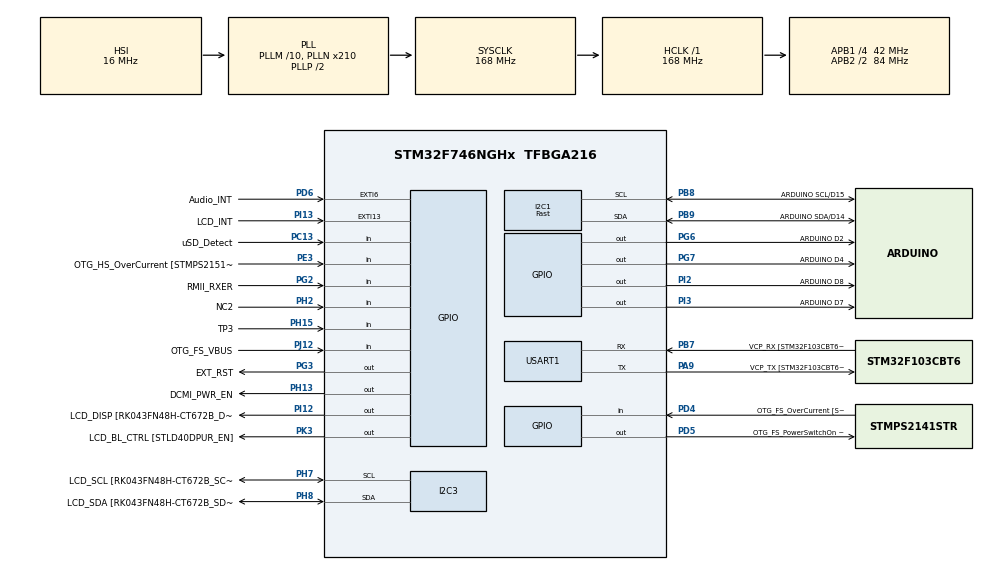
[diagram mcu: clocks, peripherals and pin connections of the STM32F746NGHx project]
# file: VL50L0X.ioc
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Dma.Request0=TIM6_UP
Dma.TIM6_UP.0.Direction=DMA_PERIPH_TO_MEMORY
Dma.TIM6_UP.0.FIFOMode=DMA_FIFOMODE_DISABLE
Dma.TIM6_UP.0.Instance=DMA1_Stream1
Dma.TIM6_UP.0.MemDataAlignment=DMA_MDATAALIGN_HALFWORD
Dma.TIM6_UP.0.MemInc=DMA_MINC_ENABLE
Dma.TIM6_UP.0.Mode=DMA_NORMAL
Dma.TIM6_UP.0.PeriphDataAlignment=DMA_PDATAALIGN_HALFWORD
Dma.TIM6_UP.0.PeriphInc=DMA_PINC_DISABLE
Dma.TIM6_UP.0.Priority=DMA_PRIORITY_LOW
I2C1.I2C_Speed_Mode=I2C_Fast
I2C1.Timing=0x0040154A
I2C3.Timing=0x00A0A3F7
Mcu.Family=STM32F7
Mcu.Name=STM32F746NGHx
Mcu.Package=TFBGA216
NVIC.DMA1_Stream1_IRQn=true\:0\:0\:false\:false\:true\:false\:true\:true
NVIC.PriorityGroup=NVIC_PRIORITYGROUP_4
NVIC.TIM6_DAC_IRQn=true\:0\:0\:false\:false\:true\:true\:true\:true
PA0/WKUP.GPIO_Label=ARDUINO A0
PA0/WKUP.GPIO_Mode=GPIO_MODE_ANALOG
PA0/WKUP.GPIO_PuPd=GPIO_NOPULL
PA0/WKUP.Signal=ADCx_IN0
PA1.GPIO_Label=RMII_REF_CLK [LAN8742A-CZ-TR_REFCLK0]
PA1.Signal=ETH_REF_CLK
PA10.GPIO_Label=OTG_FS_ID
PA10.Signal=USB_OTG_FS_ID
PA11.GPIO_Label=OTG_FS_N
PA11.Signal=USB_OTG_FS_DM
PA12.GPIO_Label=OTG_FS_P
PA12.Signal=USB_OTG_FS_DP
PA13.GPIO_Label=SWDIO
PA13.Mode=Serial_Wire
PA13.Signal=SYS_JTMS-SWDIO
PA14.GPIO_Label=SWCLK
PA14.Mode=Serial_Wire
PA14.Signal=SYS_JTCK-SWCLK
PA15.GPIO_Label=ARDUINO PWM/D9
PA15.GPIO_ModeDefaultPP=GPIO_MODE_AF_PP
PA15.GPIO_PuPd=GPIO_NOPULL
PA15.GPIO_Speed=GPIO_SPEED_FREQ_LOW
PA15.Signal=S_TIM2_CH1_ETR
PA2.GPIO_Label=RMII_MDIO [LAN8742A-CZ-TR_MDIO]
PA2.Signal=ETH_MDIO
PA3.GPIO_Label=ULPI_D0 [USB3320C-EZK_D0]
PA3.Signal=USB_OTG_HS_ULPI_D0
PA4.GPIO_Label=DCMI_HSYNC
PA4.Signal=DCMI_HSYNC
PA5.GPIO_Label=ULPI_CLK [USB3320C-EZK_CLKOUT]
PA5.Signal=USB_OTG_HS_ULPI_CK
PA6.Signal=DCMI_PIXCLK
PA7.GPIO_Label=RMII_CRS_DV [LAN8742A-CZ-TR_CRS_DV]
PA7.Signal=ETH_CRS_DV
PA8.GPIO_Label=ARDUINO PWM/D10
PA8.GPIO_ModeDefaultPP=GPIO_MODE_AF_PP
PA8.GPIO_PuPd=GPIO_NOPULL
PA8.GPIO_Speed=GPIO_SPEED_FREQ_LOW
PA8.Signal=S_TIM1_CH1
PA9.GPIO_Label=VCP_TX [STM32F103CBT6_PA3]
PA9.GPIO_Mode=GPIO_MODE_AF_PP
PA9.GPIO_PuPd=GPIO_NOPULL
PA9.GPIO_Speed=GPIO_SPEED_FREQ_LOW
PA9.Mode=Asynchronous
PA9.Signal=USART1_TX
PB0.GPIO_Label=ULPI_D1 [USB3320C-EZK_D1]
PB0.Signal=USB_OTG_HS_ULPI_D1
PB1.GPIO_Label=ULPI_D2 [USB3320C-EZK_D2]
PB1.Signal=USB_OTG_HS_ULPI_D2
PB10.GPIO_Label=ULPI_D3 [USB3320C-EZK_D3]
PB10.Signal=USB_OTG_HS_ULPI_D3
PB11.GPIO_Label=ULPI_D4 [USB3320C-EZK_D4]
PB11.Signal=USB_OTG_HS_ULPI_D4
PB12.GPIO_Label=ULPI_D5 [USB3320C-EZK_D5]
PB12.Signal=USB_OTG_HS_ULPI_D5
PB13.GPIO_Label=ULPI_D6 [USB3320C-EZK_D6]
PB13.Signal=USB_OTG_HS_ULPI_D6
PB14.GPIO_Label=ARDUINO MISO/D12
PB14.GPIO_Mode=GPIO_MODE_AF_PP
PB14.GPIO_PuPd=GPIO_NOPULL
PB14.GPIO_Speed=GPIO_SPEED_FREQ_LOW
PB14.Signal=SPI2_MISO
PB15.GPIO_Label=ARDUINO MOSI/PWM/D11
PB15.GPIO_Mode=GPIO_MODE_AF_PP
PB15.GPIO_PuPd=GPIO_NOPULL
PB15.GPIO_Speed=GPIO_SPEED_FREQ_LOW
PB15.Signal=SPI2_MOSI
PB2.Signal=QUADSPI_CLK
PB3.GPIO_Label=SWO
PB3.Signal=SYS_JTDO-SWO
PB4.GPIO_Label=ARDUINO PWM/D3
PB4.GPIO_ModeDefaultPP=GPIO_MODE_AF_PP
PB4.GPIO_PuPd=GPIO_NOPULL
PB4.GPIO_Speed=GPIO_SPEED_FREQ_LOW
PB4.Signal=S_TIM3_CH1
PB5.GPIO_Label=ULPI_D7 [USB3320C-EZK_D7]
PB5.Signal=USB_OTG_HS_ULPI_D7
PB6.GPIO_Label=QSPI_NCS [N25Q128A13EF840E_S]
PB6.Signal=QUADSPI_BK1_NCS
PB7.GPIO_Label=VCP_RX [STM32F103CBT6_PA2]
PB7.GPIO_Mode=GPIO_MODE_AF_PP
PB7.GPIO_PuPd=GPIO_NOPULL
PB7.GPIO_Speed=GPIO_SPEED_FREQ_LOW
PB7.Mode=Asynchronous
PB7.Signal=USART1_RX
PB8.GPIO_Label=ARDUINO SCL/D15
PB8.GPIO_Mode=GPIO_MODE_AF_OD
PB8.GPIO_PuPd=GPIO_NOPULL
PB8.GPIO_Speed=GPIO_SPEED_FREQ_LOW
PB8.Mode=I2C
PB8.Signal=I2C1_SCL
PB9.GPIO_Label=ARDUINO SDA/D14
PB9.GPIO_Mode=GPIO_MODE_AF_OD
PB9.GPIO_PuPd=GPIO_NOPULL
PB9.GPIO_Speed=GPIO_SPEED_FREQ_LOW
PB9.Mode=I2C
PB9.Signal=I2C1_SDA
PC0.GPIO_Label=ULPI_STP [USB3320C-EZK_STP]
PC0.Signal=USB_OTG_HS_ULPI_STP
PC1.GPIO_Label=RMII_MDC [LAN8742A-CZ-TR_MDC]
PC1.Signal=ETH_MDC
PC10.GPIO_Label=SDMMC_D2
PC10.Signal=SDMMC1_D2
PC11.GPIO_Label=SDMMC_D3
PC11.Signal=SDMMC1_D3
PC12.GPIO_Label=SDMMC_CK
PC12.Signal=SDMMC1_CK
PC13.GPIO_Label=uSD_Detect
PC13.Signal=GPIO_Input
PC14/OSC32_IN.GPIO_Label=RCC_OSC32_IN
PC14/OSC32_IN.Signal=RCC_OSC32_IN
PC15/OSC32_OUT.GPIO_Label=RCC_OSC32_OUT
PC15/OSC32_OUT.Signal=RCC_OSC32_OUT
PC2.GPIO_Label=ULPI_DIR [USB3320C-EZK_DIR]
PC2.Signal=USB_OTG_HS_ULPI_DIR
PC3.GPIO_Label=FMC_SDCKE0 [MT48LC4M32B2B5-6A_CKE]
PC3.Signal=FMC_SDCKE0
PC4.GPIO_Label=RMII_RXD0 [LAN8742A-CZ-TR_RXD0]
PC4.Signal=ETH_RXD0
PC5.GPIO_Label=RMII_RXD1 [LAN8742A-CZ-TR_RXD1]
PC5.Signal=ETH_RXD1
PC6.GPIO_Label=ARDUINO TX/D1
PC6.Signal=USART6_TX
PC7.GPIO_Label=ARDUINO RX/D0
PC7.Signal=USART6_RX
PC8.Signal=SDMMC1_D0
PC9.Signal=SDMMC1_D1
PD0.GPIO_Label=FMC_D2 [MT48LC4M32B2B5-6A_DQ2]
PD0.Signal=FMC_D2_DA2
PD1.GPIO_Label=FMC_D3 [MT48LC4M32B2B5-6A_DQ3]
PD1.Signal=FMC_D3_DA3
PD10.GPIO_Label=FMC_D15 [MT48LC4M32B2B5-6A_DQ15]
PD10.Signal=FMC_D15_DA15
PD11.GPIO_Label=QSPI_D0 [N25Q128A13EF840E_DQ0]
PD11.Signal=QUADSPI_BK1_IO0
PD12.GPIO_Label=QSPI_D1 [N25Q128A13EF840E_DQ1]
PD12.Signal=QUADSPI_BK1_IO1
PD13.GPIO_Label=QSPI_D3 [N25Q128A13EF840E_DQ3]
PD13.Signal=QUADSPI_BK1_IO3
PD14.GPIO_Label=FMC_D0 [MT48LC4M32B2B5-6A_DQ0]
PD14.Signal=FMC_D0_DA0
PD15.GPIO_Label=FMC_D1 [MT48LC4M32B2B5-6A_DQ1]
PD15.Signal=FMC_D1_DA1
PD2.GPIO_Label=SDMMC_D0
PD2.Signal=SDMMC1_CMD
PD3.GPIO_Label=DCMI_D5
PD3.Signal=DCMI_D5
PD4.GPIO_Label=OTG_FS_OverCurrent [STMPS2141STR_Fault]
PD4.Signal=GPIO_Input
PD5.GPIO_Label=OTG_FS_PowerSwitchOn [STMPS2141STR_EN]
PD5.PinState=GPIO_PIN_SET
PD5.Signal=GPIO_Output
PD6.GPIO_Label=Audio_INT
PD6.GPIO_ModeDefaultEXTI=GPIO_MODE_EVT_RISING
PD6.Signal=GPXTI6
PD7.GPIO_Label=SPDIF_RX0 [74LVC1G04SE_4]
PD7.Signal=SPDIFRX_IN0
PD8.GPIO_Label=FMC_D13 [MT48LC4M32B2B5-6A_DQ13]
PD8.Signal=FMC_D13_DA13
PD9.GPIO_Label=FMC_D14 [MT48LC4M32B2B5-6A_DQ14]
PD9.Signal=FMC_D14_DA14
PE0.GPIO_Label=FMC_NBL0 [MT48LC4M32B2B5-6A_DQM0]
PE0.Signal=FMC_NBL0
PE1.GPIO_Label=FMC_NBL1 [MT48LC4M32B2B5-6A_DQM1]
PE1.Signal=FMC_NBL1
PE10.GPIO_Label=FMC_D7 [MT48LC4M32B2B5-6A_DQ7]
PE10.Signal=FMC_D7_DA7
PE11.GPIO_Label=FMC_D8 [MT48LC4M32B2B5-6A_DQ8]
PE11.Signal=FMC_D8_DA8
PE12.GPIO_Label=FMC_D9 [MT48LC4M32B2B5-6A_DQ9]
PE12.Signal=FMC_D9_DA9
PE13.GPIO_Label=FMC_D10 [MT48LC4M32B2B5-6A_DQ10]
PE13.Signal=FMC_D10_DA10
PE14.GPIO_Label=FMC_D11 [MT48LC4M32B2B5-6A_DQ11]
PE14.Signal=FMC_D11_DA11
PE15.GPIO_Label=FMC_D12 [MT48LC4M32B2B5-6A_DQ12]
PE15.Signal=FMC_D12_DA12
PE2.GPIO_Label=QSPI_D2 [N25Q128A13EF840E_DQ2]
PE2.Signal=QUADSPI_BK1_IO2
PE3.GPIO_Label=OTG_HS_OverCurrent [STMPS2151STR_FAULT]
PE3.Signal=GPIO_Input
PE4.GPIO_Label=LCD_B0 [RK043FN48H-CT672B_B0]
PE4.Signal=LTDC_B0
PE5.GPIO_Label=DCMI_D6
PE5.Signal=DCMI_D6
PE6.GPIO_Label=DCMI_D7
PE6.Signal=DCMI_D7
PE7.GPIO_Label=FMC_D4 [MT48LC4M32B2B5-6A_DQ4]
PE7.Signal=FMC_D4_DA4
PE8.GPIO_Label=FMC_D5 [MT48LC4M32B2B5-6A_DQ5]
PE8.Signal=FMC_D5_DA5
PE9.GPIO_Label=FMC_D6 [MT48LC4M32B2B5-6A_DQ6]
PE9.Signal=FMC_D6_DA6
PF0.GPIO_Label=FMC_A0 [MT48LC4M32B2B5-6A_A0]
PF0.Signal=FMC_A0
PF1.GPIO_Label=FMC_A1 [MT48LC4M32B2B5-6A_A1]
PF1.Signal=FMC_A1
PF10.GPIO_Label=ARDUINO A1
PF10.GPIO_Mode=GPIO_MODE_ANALOG
PF10.GPIO_PuPd=GPIO_NOPULL
PF10.Signal=ADC3_IN8
PF11.GPIO_Label=FMC_SDNRAS [MT48LC4M32B2B5-6A_RAS]
PF11.Signal=FMC_SDNRAS
PF12.GPIO_Label=FMC_A6 [MT48LC4M32B2B5-6A_A6]
PF12.Signal=FMC_A6
PF13.GPIO_Label=FMC_A7 [MT48LC4M32B2B5-6A_A7]
PF13.Signal=FMC_A7
PF14.GPIO_Label=FMC_A8 [MT48LC4M32B2B5-6A_A8]
PF14.Signal=FMC_A8
PF15.GPIO_Label=FMC_A9 [MT48LC4M32B2B5-6A_A9]
PF15.Signal=FMC_A9
PF2.GPIO_Label=FMC_A2 [MT48LC4M32B2B5-6A_A2]
PF2.Signal=FMC_A2
PF3.GPIO_Label=FMC_A3 [MT48LC4M32B2B5-6A_A3]
PF3.Signal=FMC_A3
PF4.GPIO_Label=FMC_A4 [MT48LC4M32B2B5-6A_A4]
PF4.Signal=FMC_A4
PF5.GPIO_Label=FMC_A5 [MT48LC4M32B2B5-6A_A5]
PF5.Signal=FMC_A5
PF6.GPIO_Label=ARDUINO A5
PF6.GPIO_Mode=GPIO_MODE_ANALOG
PF6.GPIO_PuPd=GPIO_NOPULL
PF6.Signal=ADC3_IN4
PF7.GPIO_Label=ARDUINO A4
PF7.GPIO_Mode=GPIO_MODE_ANALOG
PF7.GPIO_PuPd=GPIO_NOPULL
PF7.Signal=ADC3_IN5
PF8.GPIO_Label=ARDUINO A3
PF8.GPIO_Mode=GPIO_MODE_ANALOG
PF8.GPIO_PuPd=GPIO_NOPULL
PF8.Signal=ADC3_IN6
PF9.GPIO_Label=ARDUINO A2
PF9.GPIO_Mode=GPIO_MODE_ANALOG
PF9.GPIO_PuPd=GPIO_NOPULL
PF9.Signal=ADC3_IN7
PG0.GPIO_Label=FMC_A10 [MT48LC4M32B2B5-6A_A10]
PG0.Signal=FMC_A10
PG1.GPIO_Label=FMC_A11 [MT48LC4M32B2B5-6A_A11]
PG1.Signal=FMC_A11
PG10.GPIO_Label=SAI2_SDB [WM8994ECS/R_ADCDAT1]
PG10.Signal=SAI2_SD_B
PG11.GPIO_Label=RMII_TX_EN [LAN8742A-CZ-TR_TXEN]
PG11.Signal=ETH_TX_EN
PG12.GPIO_Label=LCD_B4 [RK043FN48H-CT672B_B4]
PG12.Signal=LTDC_B4
PG13.GPIO_Label=RMII_TXD0 [LAN8742A-CZ-TR_TXD0]
PG13.Signal=ETH_TXD0
PG14.GPIO_Label=RMII_TXD1 [LAN8742A-CZ-TR_TXD1]
PG14.Signal=ETH_TXD1
PG15.GPIO_Label=FMC_SDNCAS [MT48LC4M32B2B5-6A_CAS]
PG15.Signal=FMC_SDNCAS
PG2.GPIO_Label=RMII_RXER
PG2.Signal=GPIO_Input
PG3.GPIO_Label=EXT_RST
PG3.Signal=GPIO_Output
PG4.GPIO_Label=FMC_BA0 [MT48LC4M32B2B5-6A_BA0]
PG4.Signal=FMC_A14_BA0
PG5.GPIO_Label=FMC_BA1 [MT48LC4M32B2B5-6A_BA1]
PG5.Signal=FMC_A15_BA1
PG6.GPIO_Label=ARDUINO D2
PG6.Signal=GPIO_Output
PG7.GPIO_Label=ARDUINO D4
PG7.Signal=GPIO_Output
PG8.GPIO_Label=FMC_SDCLK [MT48LC4M32B2B5-6A_CLK]
PG8.Signal=FMC_SDCLK
PG9.GPIO_Label=DCMI_VSYNC
PG9.Signal=DCMI_VSYNC
PH0/OSC_IN.GPIO_Label=OSC_25M [NZ2520SB-25.00M_OUT]
PH0/OSC_IN.Mode=HSE-External-Oscillator
PH0/OSC_IN.Signal=RCC_OSC_IN
PH1/OSC_OUT.Mode=HSE-External-Oscillator
PH1/OSC_OUT.Signal=RCC_OSC_OUT
PH10.GPIO_Label=DCMI_D1
PH10.Signal=DCMI_D1
PH11.GPIO_Label=DCMI_D2
PH11.Signal=DCMI_D2
PH12.GPIO_Label=DCMI_D3
PH12.Signal=DCMI_D3
PH13.GPIO_Label=DCMI_PWR_EN
PH13.Signal=GPIO_Output
PH14.GPIO_Label=DCMI_D4
PH14.Signal=DCMI_D4
PH15.GPIO_Label=TP3
PH15.Signal=GPIO_Input
PH2.GPIO_Label=NC2
PH2.Signal=GPIO_Input
PH3.GPIO_Label=FMC_SDNE0 [MT48LC4M32B2B5-6A_CS]
PH3.Signal=FMC_SDNE0
PH4.GPIO_Label=ULPI_NXT [USB3320C-EZK_NXT]
PH4.Signal=USB_OTG_HS_ULPI_NXT
PH5.GPIO_Label=FMC_SDNME [MT48LC4M32B2B5-6A_WE]
PH5.Signal=FMC_SDNWE
PH6.GPIO_Label=ARDUINO PWM/D6
PH6.Signal=S_TIM12_CH1
PH7.GPIO_Label=LCD_SCL [RK043FN48H-CT672B_SCL]
PH7.Mode=I2C
PH7.Signal=I2C3_SCL
PH8.GPIO_Label=LCD_SDA [RK043FN48H-CT672B_SDA]
PH8.Mode=I2C
PH8.Signal=I2C3_SDA
PH9.GPIO_Label=DCMI_D0
PH9.Signal=DCMI_D0
PI0.GPIO_Label=ARDUINO PWM/CS/D5
PI0.GPIO_ModeDefaultPP=GPIO_MODE_AF_PP
PI0.GPIO_PuPd=GPIO_NOPULL
PI0.GPIO_Speed=GPIO_SPEED_FREQ_LOW
PI0.Signal=S_TIM5_CH4
PI1.GPIO_Label=ARDUINO SCK/D13
PI1.GPIO_Mode=GPIO_MODE_AF_PP
PI1.GPIO_PuPd=GPIO_NOPULL
PI1.GPIO_Speed=GPIO_SPEED_FREQ_LOW
PI1.Signal=SPI2_SCK
PI10.GPIO_Label=LCD_HSYNC [RK043FN48H-CT672B_HSYNC]
PI10.Signal=LTDC_HSYNC
PI12.GPIO_Label=LCD_DISP [RK043FN48H-CT672B_DISP] 
PI12.Signal=GPIO_Output
PI13.GPIO_Label=LCD_INT
PI13.GPIO_ModeDefaultEXTI=GPIO_MODE_EVT_RISING
PI13.Signal=GPXTI13
PI14.GPIO_Label=LCD_CLK [RK043FN48H-CT672B_CLK]
PI14.Signal=LTDC_CLK
PI15.GPIO_Label=LCD_R0 [RK043FN48H-CT672B_R0]
PI15.Signal=LTDC_R0
PI2.GPIO_Label=ARDUINO D8
PI2.Signal=GPIO_Output
PI3.GPIO_Label=ARDUINO D7
PI3.Signal=GPIO_Output
PI4.GPIO_Label=SAI2_MCLKA [WM8994ECS/R_MCLK1]
PI4.Signal=SAI2_MCLK_A
PI5.GPIO_Label=SAI2_SCKA [WM8994ECS/R_BCLK1]
PI5.Signal=SAI2_SCK_A
PI6.GPIO_Label=SAI2_SDA [WM8994ECS/R_DACDAT1]
PI6.Signal=SAI2_SD_A
PI7.GPIO_Label=SAI2_FSA [WM8994ECS/R_LRCLK1]
PI7.Signal=SAI2_FS_A
PI8.GPIO_Label=NC1 [TP2]
PI8.Signal=RTC_TS
PI9.GPIO_Label=LCD_VSYNC [RK043FN48H-CT672B_VSYNC]
PI9.Signal=LTDC_VSYNC
PJ0.GPIO_Label=LCD_R1 [RK043FN48H-CT672B_R1]
PJ0.Signal=LTDC_R1
PJ1.GPIO_Label=LCD_R2 [RK043FN48H-CT672B_R2]
PJ1.Signal=LTDC_R2
PJ10.GPIO_Label=LCD_G3 [RK043FN48H-CT672B_G3]
PJ10.Signal=LTDC_G3
PJ11.GPIO_Label=LCD_G4 [RK043FN48H-CT672B_G4]
PJ11.Signal=LTDC_G4
PJ12.GPIO_Label=OTG_FS_VBUS
PJ12.Signal=GPIO_Input
PJ13.GPIO_Label=LCD_B1 [RK043FN48H-CT672B_B1]
PJ13.Signal=LTDC_B1
PJ14.GPIO_Label=LCD_B2 [RK043FN48H-CT672B_B2]
PJ14.Signal=LTDC_B2
PJ15.GPIO_Label=LCD_B3 [RK043FN48H-CT672B_B3]
PJ15.Signal=LTDC_B3
PJ2.GPIO_Label=LCD_R3 [RK043FN48H-CT672B_R3]
PJ2.Signal=LTDC_R3
PJ3.GPIO_Label=LCD_R4 [RK043FN48H-CT672B_R4]
PJ3.Signal=LTDC_R4
PJ4.GPIO_Label=LCD_R5 [RK043FN48H-CT672B_R5]
PJ4.Signal=LTDC_R5
PJ5.GPIO_Label=LCD_R6 [RK043FN48H-CT672B_R6]
PJ5.Signal=LTDC_R6
PJ6.GPIO_Label=LCD_R7 [RK043FN48H-CT672B_R7]
PJ6.Signal=LTDC_R7
PJ7.GPIO_Label=LCD_G0 [RK043FN48H-CT672B_G0]
PJ7.Signal=LTDC_G0
PJ8.GPIO_Label=LCD_G1 [RK043FN48H-CT672B_G1]
PJ8.Signal=LTDC_G1
PJ9.GPIO_Label=LCD_G2 [RK043FN48H-CT672B_G2]
PJ9.Signal=LTDC_G2
PK0.GPIO_Label=LCD_G5 [RK043FN48H-CT672B_G5]
PK0.Signal=LTDC_G5
PK1.GPIO_Label=LCD_G6 [RK043FN48H-CT672B_G6]
PK1.Signal=LTDC_G6
PK2.GPIO_Label=LCD_G7 [RK043FN48H-CT672B_G7]
PK2.Signal=LTDC_G7
PK3.GPIO_Label=LCD_BL_CTRL [STLD40DPUR_EN]
PK3.Signal=GPIO_Output
PK4.GPIO_Label=LCD_B5 [RK043FN48H-CT672B_B5]
PK4.Signal=LTDC_B5
PK5.GPIO_Label=LCD_B6 [RK043FN48H-CT672B_B6]
PK5.Signal=LTDC_B6
PK6.GPIO_Label=LCD_B7 [RK043FN48H-CT672B_B7]
PK6.Signal=LTDC_B7
PK7.GPIO_Label=LCD_DE [RK043FN48H-CT672B_DE]
PK7.Signal=LTDC_DE
ProjectManager.HeapSize=0x200
ProjectManager.StackSize=0x400
ProjectManager.TargetToolchain=STM32CubeIDE
RCC.AHBFreq_Value=168000000
RCC.APB1CLKDivider=RCC_HCLK_DIV4
RCC.APB1Freq_Value=42000000
RCC.APB1TimFreq_Value=84000000
RCC.APB2CLKDivider=RCC_HCLK_DIV2
RCC.APB2Freq_Value=84000000
RCC.APB2TimFreq_Value=168000000
RCC.CortexFreq_Value=168000000
RCC.HCLKFreq_Value=168000000
RCC.HSE_VALUE=25000000
RCC.HSI_VALUE=16000000
RCC.LSE_VALUE=32768
RCC.PLLM=10
RCC.PLLN=210
RCC.PLLSourceVirtual=RCC_PLLSOURCE_HSI
RCC.SYSCLKFreq_VALUE=168000000
RCC.SYSCLKSource=RCC_SYSCLKSOURCE_PLLCLK
RCC.USBFreq_Value=168000000
RCC.VCOOutputFreq_Value=336000000
SH.ADCx_IN0.0=ADC3_IN0
SH.FMC_A0.0=FMC_A0
SH.FMC_A1.0=FMC_A1
SH.FMC_A10.0=FMC_A10
SH.FMC_A11.0=FMC_A11
SH.FMC_A14_BA0.0=FMC_BA0
SH.FMC_A15_BA1.0=FMC_BA1
SH.FMC_A2.0=FMC_A2
SH.FMC_A3.0=FMC_A3
SH.FMC_A4.0=FMC_A4
SH.FMC_A5.0=FMC_A5
SH.FMC_A6.0=FMC_A6
SH.FMC_A7.0=FMC_A7
SH.FMC_A8.0=FMC_A8
SH.FMC_A9.0=FMC_A9
SH.FMC_D0_DA0.0=FMC_D0
SH.FMC_D10_DA10.0=FMC_D10
SH.FMC_D11_DA11.0=FMC_D11
SH.FMC_D12_DA12.0=FMC_D12
SH.FMC_D13_DA13.0=FMC_D13
SH.FMC_D14_DA14.0=FMC_D14
SH.FMC_D15_DA15.0=FMC_D15
SH.FMC_D1_DA1.0=FMC_D1
SH.FMC_D2_DA2.0=FMC_D2
SH.FMC_D3_DA3.0=FMC_D3
SH.FMC_D4_DA4.0=FMC_D4
SH.FMC_D5_DA5.0=FMC_D5
SH.FMC_D6_DA6.0=FMC_D6
SH.FMC_D7_DA7.0=FMC_D7
SH.FMC_D8_DA8.0=FMC_D8
SH.FMC_D9_DA9.0=FMC_D9
SH.FMC_NBL0.0=FMC_NBL0
SH.FMC_NBL1.0=FMC_NBL1
SH.FMC_SDCLK.0=FMC_SDCLK
SH.FMC_SDNCAS.0=FMC_SDNCAS
SH.FMC_SDNRAS.0=FMC_SDNRAS
SH.FMC_SDNWE.0=FMC_SDNWE
SH.S_TIM12_CH1.0=TIM12_CH1
SH.S_TIM1_CH1.0=TIM1_CH1
SH.S_TIM2_CH1_ETR.0=TIM2_CH1
SH.S_TIM3_CH1.0=TIM3_CH1
SH.S_TIM5_CH4.0=TIM5_CH4
TIM6.Period=100-1
TIM6.Prescaler=16800-1
USART1.VirtualMode-Asynchronous=VM_ASYNC
VP_TIM6_VS_ClockSourceINT.Mode=Enable_Timer
board=STM32F746G-DISCO

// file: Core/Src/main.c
/* USER CODE BEGIN Header */
/**
 ******************************************************************************
 * @file           : main.c
 * @brief          : Main program body
 ******************************************************************************
 * @attention
 *
 * Copyright (c) 2022 STMicroelectronics.
 * All rights reserved.
 *
 * This software is licensed under terms that can be found in the LICENSE file
 * in the root directory of this software component.
 * If no LICENSE file comes with this software, it is provided AS-IS.
 *
 ******************************************************************************
 */
/* USER CODE END Header */
#include "main.h"

/* USER CODE BEGIN Includes */
#include "VL53L0X.h"
#include "stdio.h"
#include "VL53L0X.h"

/* USER CODE END Includes */

I2C_HandleTypeDef hi2c1;
I2C_HandleTypeDef hi2c3;

TIM_HandleTypeDef htim6;
DMA_HandleTypeDef hdma_tim6_up;

UART_HandleTypeDef huart1;

/* USER CODE BEGIN PV */
statInfo_t_VL53L0X distanceStr;
tofs_t tof1;
uint16_t distance;
/* USER CODE END PV */

void SystemClock_Config(void);
static void MX_GPIO_Init(void);
static void MX_USART1_UART_Init(void);
static void MX_I2C1_Init(void);
static void MX_DMA_Init(void);
static void MX_TIM6_Init(void);
static void MX_I2C3_Init(void);

/* USER CODE BEGIN 0 */
int __io_putchar(int ch)
{
	HAL_UART_Transmit(&huart1, (uint8_t*)&ch, 1, HAL_MAX_DELAY);

	return ch;
}

/* USER CODE END 0 */

int main(void)
{

	/* MCU Configuration--------------------------------------------------------*/

	/* Reset of all peripherals, Initializes the Flash interface and the Systick. */
	HAL_Init();

	/* Configure the system clock */
	SystemClock_Config();

	/* Initialize all configured peripherals */
	MX_GPIO_Init();
	MX_USART1_UART_Init();
	MX_I2C1_Init();
	MX_DMA_Init();
	MX_TIM6_Init();
	MX_I2C3_Init();
	/* USER CODE BEGIN 2 */

	printf("bonjour\r\n");
	HAL_Delay(100);

	char msgBuffer[52];
	for (uint8_t i = 0; i < 52; i++) {
		msgBuffer[i] = ' ';
	}

	// Initialise the VL53L0X

	initVXL_right();

	HAL_TIM_Base_Start_IT(&htim6);
	/* USER CODE END 2 */

	/* Infinite loop */
	while (1)
	{

		/* USER CODE BEGIN 3 */

		// uint16_t distance is the distance in millimeters.
		// statInfo_t_VL53L0X distanceStr is the statistics read from the sensor.

	}
	/* USER CODE END 3 */
}

void SystemClock_Config(void)
{
	RCC_OscInitTypeDef RCC_OscInitStruct = {0};
	RCC_ClkInitTypeDef RCC_ClkInitStruct = {0};

	/** Configure the main internal regulator output voltage
	 */
	__HAL_RCC_PWR_CLK_ENABLE();
	__HAL_PWR_VOLTAGESCALING_CONFIG(PWR_REGULATOR_VOLTAGE_SCALE2);

	/** Initializes the RCC Oscillators according to the specified parameters
	 * in the RCC_OscInitTypeDef structure.
	 */
	RCC_OscInitStruct.OscillatorType = RCC_OSCILLATORTYPE_HSI;
	RCC_OscInitStruct.HSIState = RCC_HSI_ON;
	RCC_OscInitStruct.HSICalibrationValue = RCC_HSICALIBRATION_DEFAULT;
	RCC_OscInitStruct.PLL.PLLState = RCC_PLL_ON;
	RCC_OscInitStruct.PLL.PLLSource = RCC_PLLSOURCE_HSI;
	RCC_OscInitStruct.PLL.PLLM = 10;
	RCC_OscInitStruct.PLL.PLLN = 210;
	RCC_OscInitStruct.PLL.PLLP = RCC_PLLP_DIV2;
	RCC_OscInitStruct.PLL.PLLQ = 2;
	if (HAL_RCC_OscConfig(&RCC_OscInitStruct) != HAL_OK)
	{
		Error_Handler();
	}

	/** Initializes the CPU, AHB and APB buses clocks
	 */
	RCC_ClkInitStruct.ClockType = RCC_CLOCKTYPE_HCLK|RCC_CLOCKTYPE_SYSCLK
			|RCC_CLOCKTYPE_PCLK1|RCC_CLOCKTYPE_PCLK2;
	RCC_ClkInitStruct.SYSCLKSource = RCC_SYSCLKSOURCE_PLLCLK;
	RCC_ClkInitStruct.AHBCLKDivider = RCC_SYSCLK_DIV1;
	RCC_ClkInitStruct.APB1CLKDivider = RCC_HCLK_DIV4;
	RCC_ClkInitStruct.APB2CLKDivider = RCC_HCLK_DIV2;

	if (HAL_RCC_ClockConfig(&RCC_ClkInitStruct, FLASH_LATENCY_5) != HAL_OK)
	{
		Error_Handler();
	}
}

static void MX_I2C1_Init(void)
{

	hi2c1.Instance = I2C1;
	hi2c1.Init.Timing = 0x0040154A;
	hi2c1.Init.OwnAddress1 = 0;
	hi2c1.Init.AddressingMode = I2C_ADDRESSINGMODE_7BIT;
	hi2c1.Init.DualAddressMode = I2C_DUALADDRESS_DISABLE;
	hi2c1.Init.OwnAddress2 = 0;
	hi2c1.Init.OwnAddress2Masks = I2C_OA2_NOMASK;
	hi2c1.Init.GeneralCallMode = I2C_GENERALCALL_DISABLE;
	hi2c1.Init.NoStretchMode = I2C_NOSTRETCH_DISABLE;
	if (HAL_I2C_Init(&hi2c1) != HAL_OK)
	{
		Error_Handler();
	}

	/** Configure Analogue filter
	 */
	if (HAL_I2CEx_ConfigAnalogFilter(&hi2c1, I2C_ANALOGFILTER_ENABLE) != HAL_OK)
	{
		Error_Handler();
	}

	/** Configure Digital filter
	 */
	if (HAL_I2CEx_ConfigDigitalFilter(&hi2c1, 0) != HAL_OK)
	{
		Error_Handler();
	}

}

static void MX_I2C3_Init(void)
{

	hi2c3.Instance = I2C3;
	hi2c3.Init.Timing = 0x00A0A3F7;
	hi2c3.Init.OwnAddress1 = 0;
	hi2c3.Init.AddressingMode = I2C_ADDRESSINGMODE_7BIT;
	hi2c3.Init.DualAddressMode = I2C_DUALADDRESS_DISABLE;
	hi2c3.Init.OwnAddress2 = 0;
	hi2c3.Init.OwnAddress2Masks = I2C_OA2_NOMASK;
	hi2c3.Init.GeneralCallMode = I2C_GENERALCALL_DISABLE;
	hi2c3.Init.NoStretchMode = I2C_NOSTRETCH_DISABLE;
	if (HAL_I2C_Init(&hi2c3) != HAL_OK)
	{
		Error_Handler();
	}

	/** Configure Analogue filter
	 */
	if (HAL_I2CEx_ConfigAnalogFilter(&hi2c3, I2C_ANALOGFILTER_ENABLE) != HAL_OK)
	{
		Error_Handler();
	}

	/** Configure Digital filter
	 */
	if (HAL_I2CEx_ConfigDigitalFilter(&hi2c3, 0) != HAL_OK)
	{
		Error_Handler();
	}

}

static void MX_TIM6_Init(void)
{

	TIM_MasterConfigTypeDef sMasterConfig = {0};

	htim6.Instance = TIM6;
	htim6.Init.Prescaler = 16800-1;
	htim6.Init.CounterMode = TIM_COUNTERMODE_UP;
	htim6.Init.Period = 100-1;
	htim6.Init.AutoReloadPreload = TIM_AUTORELOAD_PRELOAD_DISABLE;
	if (HAL_TIM_Base_Init(&htim6) != HAL_OK)
	{
		Error_Handler();
	}
	sMasterConfig.MasterOutputTrigger = TIM_TRGO_RESET;
	sMasterConfig.MasterSlaveMode = TIM_MASTERSLAVEMODE_DISABLE;
	if (HAL_TIMEx_MasterConfigSynchronization(&htim6, &sMasterConfig) != HAL_OK)
	{
		Error_Handler();
	}

}

static void MX_USART1_UART_Init(void)
{

	huart1.Instance = USART1;
	huart1.Init.BaudRate = 115200;
	huart1.Init.WordLength = UART_WORDLENGTH_8B;
	huart1.Init.StopBits = UART_STOPBITS_1;
	huart1.Init.Parity = UART_PARITY_NONE;
	huart1.Init.Mode = UART_MODE_TX_RX;
	huart1.Init.HwFlowCtl = UART_HWCONTROL_NONE;
	huart1.Init.OverSampling = UART_OVERSAMPLING_16;
	huart1.Init.OneBitSampling = UART_ONE_BIT_SAMPLE_DISABLE;
	huart1.AdvancedInit.AdvFeatureInit = UART_ADVFEATURE_NO_INIT;
	if (HAL_UART_Init(&huart1) != HAL_OK)
	{
		Error_Handler();
	}

}

static void MX_DMA_Init(void)
{

	/* DMA controller clock enable */
	__HAL_RCC_DMA1_CLK_ENABLE();

	/* DMA interrupt init */
	/* DMA1_Stream1_IRQn interrupt configuration */
	HAL_NVIC_SetPriority(DMA1_Stream1_IRQn, 0, 0);
	HAL_NVIC_EnableIRQ(DMA1_Stream1_IRQn);

}

static void MX_GPIO_Init(void)
{
	GPIO_InitTypeDef GPIO_InitStruct = {0};

	/* GPIO Ports Clock Enable */
	__HAL_RCC_GPIOE_CLK_ENABLE();
	__HAL_RCC_GPIOG_CLK_ENABLE();
	__HAL_RCC_GPIOB_CLK_ENABLE();
	__HAL_RCC_GPIOD_CLK_ENABLE();
	__HAL_RCC_GPIOC_CLK_ENABLE();
	__HAL_RCC_GPIOA_CLK_ENABLE();
	__HAL_RCC_GPIOJ_CLK_ENABLE();
	__HAL_RCC_GPIOI_CLK_ENABLE();
	__HAL_RCC_GPIOK_CLK_ENABLE();
	__HAL_RCC_GPIOF_CLK_ENABLE();
	__HAL_RCC_GPIOH_CLK_ENABLE();

	/*Configure GPIO pin Output Level */
	HAL_GPIO_WritePin(OTG_FS_PowerSwitchOn_GPIO_Port, OTG_FS_PowerSwitchOn_Pin, GPIO_PIN_SET);

	/*Configure GPIO pin Output Level */
	HAL_GPIO_WritePin(GPIOI, ARDUINO_D7_Pin|ARDUINO_D8_Pin|LCD_DISP_Pin, GPIO_PIN_RESET);

	/*Configure GPIO pin Output Level */
	HAL_GPIO_WritePin(LCD_BL_CTRL_GPIO_Port, LCD_BL_CTRL_Pin, GPIO_PIN_RESET);

	/*Configure GPIO pin Output Level */
	HAL_GPIO_WritePin(DCMI_PWR_EN_GPIO_Port, DCMI_PWR_EN_Pin, GPIO_PIN_RESET);

	/*Configure GPIO pin Output Level */
	HAL_GPIO_WritePin(GPIOG, ARDUINO_D4_Pin|ARDUINO_D2_Pin|EXT_RST_Pin, GPIO_PIN_RESET);

	/*Configure GPIO pin : LCD_B0_Pin */
	GPIO_InitStruct.Pin = LCD_B0_Pin;
	GPIO_InitStruct.Mode = GPIO_MODE_AF_PP;
	GPIO_InitStruct.Pull = GPIO_NOPULL;
	GPIO_InitStruct.Speed = GPIO_SPEED_FREQ_LOW;
	GPIO_InitStruct.Alternate = GPIO_AF14_LTDC;
	HAL_GPIO_Init(LCD_B0_GPIO_Port, &GPIO_InitStruct);

	/*Configure GPIO pin : OTG_HS_OverCurrent_Pin */
	GPIO_InitStruct.Pin = OTG_HS_OverCurrent_Pin;
	GPIO_InitStruct.Mode = GPIO_MODE_INPUT;
	GPIO_InitStruct.Pull = GPIO_NOPULL;
	HAL_GPIO_Init(OTG_HS_OverCurrent_GPIO_Port, &GPIO_InitStruct);

	/*Configure GPIO pin : QSPI_D2_Pin */
	GPIO_InitStruct.Pin = QSPI_D2_Pin;
	GPIO_InitStruct.Mode = GPIO_MODE_AF_PP;
	GPIO_InitStruct.Pull = GPIO_NOPULL;
	GPIO_InitStruct.Speed = GPIO_SPEED_FREQ_VERY_HIGH;
	GPIO_InitStruct.Alternate = GPIO_AF9_QUADSPI;
	HAL_GPIO_Init(QSPI_D2_GPIO_Port, &GPIO_InitStruct);

	/*Configure GPIO pins : RMII_TXD1_Pin RMII_TXD0_Pin RMII_TX_EN_Pin */
	GPIO_InitStruct.Pin = RMII_TXD1_Pin|RMII_TXD0_Pin|RMII_TX_EN_Pin;
	GPIO_InitStruct.Mode = GPIO_MODE_AF_PP;
	GPIO_InitStruct.Pull = GPIO_NOPULL;
	GPIO_InitStruct.Speed = GPIO_SPEED_FREQ_VERY_HIGH;
	GPIO_InitStruct.Alternate = GPIO_AF11_ETH;
	HAL_GPIO_Init(GPIOG, &GPIO_InitStruct);

	/*Configure GPIO pins : FMC_NBL1_Pin FMC_NBL0_Pin FMC_D5_Pin FMC_D6_Pin
                           FMC_D8_Pin FMC_D11_Pin FMC_D4_Pin FMC_D7_Pin
                           FMC_D9_Pin FMC_D12_Pin FMC_D10_Pin */
	GPIO_InitStruct.Pin = FMC_NBL1_Pin|FMC_NBL0_Pin|FMC_D5_Pin|FMC_D6_Pin
			|FMC_D8_Pin|FMC_D11_Pin|FMC_D4_Pin|FMC_D7_Pin
			|FMC_D9_Pin|FMC_D12_Pin|FMC_D10_Pin;
	GPIO_InitStruct.Mode = GPIO_MODE_AF_PP;
	GPIO_InitStruct.Pull = GPIO_NOPULL;
	GPIO_InitStruct.Speed = GPIO_SPEED_FREQ_VERY_HIGH;
	GPIO_InitStruct.Alternate = GPIO_AF12_FMC;
	HAL_GPIO_Init(GPIOE, &GPIO_InitStruct);

	/*Configure GPIO pins : ULPI_D7_Pin ULPI_D6_Pin ULPI_D5_Pin ULPI_D3_Pin
                           ULPI_D2_Pin ULPI_D1_Pin ULPI_D4_Pin */
	GPIO_InitStruct.Pin = ULPI_D7_Pin|ULPI_D6_Pin|ULPI_D5_Pin|ULPI_D3_Pin
			|ULPI_D2_Pin|ULPI_D1_Pin|ULPI_D4_Pin;
	GPIO_InitStruct.Mode = GPIO_MODE_AF_PP;
	GPIO_InitStruct.Pull = GPIO_NOPULL;
	GPIO_InitStruct.Speed = GPIO_SPEED_FREQ_VERY_HIGH;
	GPIO_InitStruct.Alternate = GPIO_AF10_OTG_HS;
	HAL_GPIO_Init(GPIOB, &GPIO_InitStruct);

	/*Configure GPIO pin : ARDUINO_PWM_D3_Pin */
	GPIO_InitStruct.Pin = ARDUINO_PWM_D3_Pin;
	GPIO_InitStruct.Mode = GPIO_MODE_AF_PP;
	GPIO_InitStruct.Pull = GPIO_NOPULL;
	GPIO_InitStruct.Speed = GPIO_SPEED_FREQ_LOW;
	GPIO_InitStruct.Alternate = GPIO_AF2_TIM3;
	HAL_GPIO_Init(ARDUINO_PWM_D3_GPIO_Port, &GPIO_InitStruct);

	/*Configure GPIO pin : SPDIF_RX0_Pin */
	GPIO_InitStruct.Pin = SPDIF_RX0_Pin;
	GPIO_InitStruct.Mode = GPIO_MODE_AF_PP;
	GPIO_InitStruct.Pull = GPIO_NOPULL;
	GPIO_InitStruct.Speed = GPIO_SPEED_FREQ_LOW;
	GPIO_InitStruct.Alternate = GPIO_AF8_SPDIFRX;
	HAL_GPIO_Init(SPDIF_RX0_GPIO_Port, &GPIO_InitStruct);

	/*Configure GPIO pins : SDMMC_CK_Pin SDMMC_D3_Pin SDMMC_D2_Pin PC9
                           PC8 */
	GPIO_InitStruct.Pin = SDMMC_CK_Pin|SDMMC_D3_Pin|SDMMC_D2_Pin|GPIO_PIN_9
			|GPIO_PIN_8;
	GPIO_InitStruct.Mode = GPIO_MODE_AF_PP;
	GPIO_InitStruct.Pull = GPIO_NOPULL;
	GPIO_InitStruct.Speed = GPIO_SPEED_FREQ_VERY_HIGH;
	GPIO_InitStruct.Alternate = GPIO_AF12_SDMMC1;
	HAL_GPIO_Init(GPIOC, &GPIO_InitStruct);

	/*Configure GPIO pin : ARDUINO_PWM_D9_Pin */
	GPIO_InitStruct.Pin = ARDUINO_PWM_D9_Pin;
	GPIO_InitStruct.Mode = GPIO_MODE_AF_PP;
	GPIO_InitStruct.Pull = GPIO_NOPULL;
	GPIO_InitStruct.Speed = GPIO_SPEED_FREQ_LOW;
	GPIO_InitStruct.Alternate = GPIO_AF1_TIM2;
	HAL_GPIO_Init(ARDUINO_PWM_D9_GPIO_Port, &GPIO_InitStruct);

	/*Configure GPIO pins : DCMI_D6_Pin DCMI_D7_Pin */
	GPIO_InitStruct.Pin = DCMI_D6_Pin|DCMI_D7_Pin;
	GPIO_InitStruct.Mode = GPIO_MODE_AF_PP;
	GPIO_InitStruct.Pull = GPIO_NOPULL;
	GPIO_InitStruct.Speed = GPIO_SPEED_FREQ_LOW;
	GPIO_InitStruct.Alternate = GPIO_AF13_DCMI;
	HAL_GPIO_Init(GPIOE, &GPIO_InitStruct);

	/*Configure GPIO pin : QSPI_NCS_Pin */
	GPIO_InitStruct.Pin = QSPI_NCS_Pin;
	GPIO_InitStruct.Mode = GPIO_MODE_AF_PP;
	GPIO_InitStruct.Pull = GPIO_NOPULL;
	GPIO_InitStruct.Speed = GPIO_SPEED_FREQ_VERY_HIGH;
	GPIO_InitStruct.Alternate = GPIO_AF10_QUADSPI;
	HAL_GPIO_Init(QSPI_NCS_GPIO_Port, &GPIO_InitStruct);

	/*Configure GPIO pins : FMC_SDNCAS_Pin FMC_SDCLK_Pin FMC_A11_Pin FMC_A10_Pin
                           FMC_BA1_Pin FMC_BA0_Pin */
	GPIO_InitStruct.Pin = FMC_SDNCAS_Pin|FMC_SDCLK_Pin|FMC_A11_Pin|FMC_A10_Pin
			|FMC_BA1_Pin|FMC_BA0_Pin;
	GPIO_InitStruct.Mode = GPIO_MODE_AF_PP;
	GPIO_InitStruct.Pull = GPIO_NOPULL;
	GPIO_InitStruct.Speed = GPIO_SPEED_FREQ_VERY_HIGH;
	GPIO_InitStruct.Alternate = GPIO_AF12_FMC;
	HAL_GPIO_Init(GPIOG, &GPIO_InitStruct);

	/*Configure GPIO pins : LCD_B1_Pin LCD_B2_Pin LCD_B3_Pin LCD_G4_Pin
                           LCD_G1_Pin LCD_G3_Pin LCD_G0_Pin LCD_G2_Pin
                           LCD_R7_Pin LCD_R5_Pin LCD_R6_Pin LCD_R4_Pin
                           LCD_R3_Pin LCD_R1_Pin LCD_R2_Pin */
	GPIO_InitStruct.Pin = LCD_B1_Pin|LCD_B2_Pin|LCD_B3_Pin|LCD_G4_Pin
			|LCD_G1_Pin|LCD_G3_Pin|LCD_G0_Pin|LCD_G2_Pin
			|LCD_R7_Pin|LCD_R5_Pin|LCD_R6_Pin|LCD_R4_Pin
			|LCD_R3_Pin|LCD_R1_Pin|LCD_R2_Pin;
	GPIO_InitStruct.Mode = GPIO_MODE_AF_PP;
	GPIO_InitStruct.Pull = GPIO_NOPULL;
	GPIO_InitStruct.Speed = GPIO_SPEED_FREQ_LOW;
	GPIO_InitStruct.Alternate = GPIO_AF14_LTDC;
	HAL_GPIO_Init(GPIOJ, &GPIO_InitStruct);

	/*Configure GPIO pin : OTG_FS_VBUS_Pin */
	GPIO_InitStruct.Pin = OTG_FS_VBUS_Pin;
	GPIO_InitStruct.Mode = GPIO_MODE_INPUT;
	GPIO_InitStruct.Pull = GPIO_NOPULL;
	HAL_GPIO_Init(OTG_FS_VBUS_GPIO_Port, &GPIO_InitStruct);

	/*Configure GPIO pin : Audio_INT_Pin */
	GPIO_InitStruct.Pin = Audio_INT_Pin;
	GPIO_InitStruct.Mode = GPIO_MODE_EVT_RISING;
	GPIO_InitStruct.Pull = GPIO_NOPULL;
	HAL_GPIO_Init(Audio_INT_GPIO_Port, &GPIO_InitStruct);

	/*Configure GPIO pins : FMC_D2_Pin FMC_D3_Pin FMC_D1_Pin FMC_D15_Pin
                           FMC_D0_Pin FMC_D14_Pin FMC_D13_Pin */
	GPIO_InitStruct.Pin = FMC_D2_Pin|FMC_D3_Pin|FMC_D1_Pin|FMC_D15_Pin
			|FMC_D0_Pin|FMC_D14_Pin|FMC_D13_Pin;
	GPIO_InitStruct.Mode = GPIO_MODE_AF_PP;
	GPIO_InitStruct.Pull = GPIO_NOPULL;
	GPIO_InitStruct.Speed = GPIO_SPEED_FREQ_VERY_HIGH;
	GPIO_InitStruct.Alternate = GPIO_AF12_FMC;
	HAL_GPIO_Init(GPIOD, &GPIO_InitStruct);

	/*Configure GPIO pins : OTG_FS_P_Pin OTG_FS_N_Pin OTG_FS_ID_Pin */
	GPIO_InitStruct.Pin = OTG_FS_P_Pin|OTG_FS_N_Pin|OTG_FS_ID_Pin;
	GPIO_InitStruct.Mode = GPIO_MODE_AF_PP;
	GPIO_InitStruct.Pull = GPIO_NOPULL;
	GPIO_InitStruct.Speed = GPIO_SPEED_FREQ_VERY_HIGH;
	GPIO_InitStruct.Alternate = GPIO_AF10_OTG_FS;
	HAL_GPIO_Init(GPIOA, &GPIO_InitStruct);

	/*Configure GPIO pins : SAI2_MCLKA_Pin SAI2_SCKA_Pin SAI2_FSA_Pin SAI2_SDA_Pin */
	GPIO_InitStruct.Pin = SAI2_MCLKA_Pin|SAI2_SCKA_Pin|SAI2_FSA_Pin|SAI2_SDA_Pin;
	GPIO_InitStruct.Mode = GPIO_MODE_AF_PP;
	GPIO_InitStruct.Pull = GPIO_NOPULL;
	GPIO_InitStruct.Speed = GPIO_SPEED_FREQ_LOW;
	GPIO_InitStruct.Alternate = GPIO_AF10_SAI2;
	HAL_GPIO_Init(GPIOI, &GPIO_InitStruct);

	/*Configure GPIO pins : LCD_DE_Pin LCD_B7_Pin LCD_B6_Pin LCD_B5_Pin
                           LCD_G6_Pin LCD_G7_Pin LCD_G5_Pin */
	GPIO_InitStruct.Pin = LCD_DE_Pin|LCD_B7_Pin|LCD_B6_Pin|LCD_B5_Pin
			|LCD_G6_Pin|LCD_G7_Pin|LCD_G5_Pin;
	GPIO_InitStruct.Mode = GPIO_MODE_AF_PP;
	GPIO_InitStruct.Pull = GPIO_NOPULL;
	GPIO_InitStruct.Speed = GPIO_SPEED_FREQ_LOW;
	GPIO_InitStruct.Alternate = GPIO_AF14_LTDC;
	HAL_GPIO_Init(GPIOK, &GPIO_InitStruct);

	/*Configure GPIO pin : LCD_B4_Pin */
	GPIO_InitStruct.Pin = LCD_B4_Pin;
	GPIO_InitStruct.Mode = GPIO_MODE_AF_PP;
	GPIO_InitStruct.Pull = GPIO_NOPULL;
	GPIO_InitStruct.Speed = GPIO_SPEED_FREQ_LOW;
	GPIO_InitStruct.Alternate = GPIO_AF9_LTDC;
	HAL_GPIO_Init(LCD_B4_GPIO_Port, &GPIO_InitStruct);

	/*Configure GPIO pin : SAI2_SDB_Pin */
	GPIO_InitStruct.Pin = SAI2_SDB_Pin;
	GPIO_InitStruct.Mode = GPIO_MODE_AF_PP;
	GPIO_InitStruct.Pull = GPIO_NOPULL;
	GPIO_InitStruct.Speed = GPIO_SPEED_FREQ_LOW;
	GPIO_InitStruct.Alternate = GPIO_AF10_SAI2;
	HAL_GPIO_Init(SAI2_SDB_GPIO_Port, &GPIO_InitStruct);

	/*Configure GPIO pin : OTG_FS_PowerSwitchOn_Pin */
	GPIO_InitStruct.Pin = OTG_FS_PowerSwitchOn_Pin;
	GPIO_InitStruct.Mode = GPIO_MODE_OUTPUT_PP;
	GPIO_InitStruct.Pull = GPIO_NOPULL;
	GPIO_InitStruct.Speed = GPIO_SPEED_FREQ_LOW;
	HAL_GPIO_Init(OTG_FS_PowerSwitchOn_GPIO_Port, &GPIO_InitStruct);

	/*Configure GPIO pin : DCMI_D5_Pin */
	GPIO_InitStruct.Pin = DCMI_D5_Pin;
	GPIO_InitStruct.Mode = GPIO_MODE_AF_PP;
	GPIO_InitStruct.Pull = GPIO_NOPULL;
	GPIO_InitStruct.Speed = GPIO_SPEED_FREQ_LOW;
	GPIO_InitStruct.Alternate = GPIO_AF13_DCMI;
	HAL_GPIO_Init(DCMI_D5_GPIO_Port, &GPIO_InitStruct);

	/*Configure GPIO pins : ARDUINO_D7_Pin ARDUINO_D8_Pin LCD_DISP_Pin */
	GPIO_InitStruct.Pin = ARDUINO_D7_Pin|ARDUINO_D8_Pin|LCD_DISP_Pin;
	GPIO_InitStruct.Mode = GPIO_MODE_OUTPUT_PP;
	GPIO_InitStruct.Pull = GPIO_NOPULL;
	GPIO_InitStruct.Speed = GPIO_SPEED_FREQ_LOW;
	HAL_GPIO_Init(GPIOI, &GPIO_InitStruct);

	/*Configure GPIO pin : uSD_Detect_Pin */
	GPIO_InitStruct.Pin = uSD_Detect_Pin;
	GPIO_InitStruct.Mode = GPIO_MODE_INPUT;
	GPIO_InitStruct.Pull = GPIO_NOPULL;
	HAL_GPIO_Init(uSD_Detect_GPIO_Port, &GPIO_InitStruct);

	/*Configure GPIO pins : FMC_A0_Pin FMC_A1_Pin FMC_A2_Pin FMC_A3_Pin
                           FMC_A4_Pin FMC_A5_Pin FMC_A6_Pin FMC_A9_Pin
                           FMC_A7_Pin FMC_A8_Pin FMC_SDNRAS_Pin */
	GPIO_InitStruct.Pin = FMC_A0_Pin|FMC_A1_Pin|FMC_A2_Pin|FMC_A3_Pin
			|FMC_A4_Pin|FMC_A5_Pin|FMC_A6_Pin|FMC_A9_Pin
			|FMC_A7_Pin|FMC_A8_Pin|FMC_SDNRAS_Pin;
	GPIO_InitStruct.Mode = GPIO_MODE_AF_PP;
	GPIO_InitStruct.Pull = GPIO_NOPULL;
	GPIO_InitStruct.Speed = GPIO_SPEED_FREQ_VERY_HIGH;
	GPIO_InitStruct.Alternate = GPIO_AF12_FMC;
	HAL_GPIO_Init(GPIOF, &GPIO_InitStruct);

	/*Configure GPIO pins : LCD_HSYNC_Pin LCD_VSYNC_Pin LCD_R0_Pin LCD_CLK_Pin */
	GPIO_InitStruct.Pin = LCD_HSYNC_Pin|LCD_VSYNC_Pin|LCD_R0_Pin|LCD_CLK_Pin;
	GPIO_InitStruct.Mode = GPIO_MODE_AF_PP;
	GPIO_InitStruct.Pull = GPIO_NOPULL;
	GPIO_InitStruct.Speed = GPIO_SPEED_FREQ_LOW;
	GPIO_InitStruct.Alternate = GPIO_AF14_LTDC;
	HAL_GPIO_Init(GPIOI, &GPIO_InitStruct);

	/*Configure GPIO pin : LCD_BL_CTRL_Pin */
	GPIO_InitStruct.Pin = LCD_BL_CTRL_Pin;
	GPIO_InitStruct.Mode = GPIO_MODE_OUTPUT_PP;
	GPIO_InitStruct.Pull = GPIO_NOPULL;
	GPIO_InitStruct.Speed = GPIO_SPEED_FREQ_LOW;
	HAL_GPIO_Init(LCD_BL_CTRL_GPIO_Port, &GPIO_InitStruct);

	/*Configure GPIO pin : DCMI_VSYNC_Pin */
	GPIO_InitStruct.Pin = DCMI_VSYNC_Pin;
	GPIO_InitStruct.Mode = GPIO_MODE_AF_PP;
	GPIO_InitStruct.Pull = GPIO_NOPULL;
	GPIO_InitStruct.Speed = GPIO_SPEED_FREQ_LOW;
	GPIO_InitStruct.Alternate = GPIO_AF13_DCMI;
	HAL_GPIO_Init(DCMI_VSYNC_GPIO_Port, &GPIO_InitStruct);

	/*Configure GPIO pin : OTG_FS_OverCurrent_Pin */
	GPIO_InitStruct.Pin = OTG_FS_OverCurrent_Pin;
	GPIO_InitStruct.Mode = GPIO_MODE_INPUT;
	GPIO_InitStruct.Pull = GPIO_NOPULL;
	HAL_GPIO_Init(OTG_FS_OverCurrent_GPIO_Port, &GPIO_InitStruct);

	/*Configure GPIO pin : SDMMC_D0_Pin */
	GPIO_InitStruct.Pin = SDMMC_D0_Pin;
	GPIO_InitStruct.Mode = GPIO_MODE_AF_PP;
	GPIO_InitStruct.Pull = GPIO_NOPULL;
	GPIO_InitStruct.Speed = GPIO_SPEED_FREQ_VERY_HIGH;
	GPIO_InitStruct.Alternate = GPIO_AF12_SDMMC1;
	HAL_GPIO_Init(SDMMC_D0_GPIO_Port, &GPIO_InitStruct);

	/*Configure GPIO pins : TP3_Pin NC2_Pin */
	GPIO_InitStruct.Pin = TP3_Pin|NC2_Pin;
	GPIO_InitStruct.Mode = GPIO_MODE_INPUT;
	GPIO_InitStruct.Pull = GPIO_NOPULL;
	HAL_GPIO_Init(GPIOH, &GPIO_InitStruct);

	/*Configure GPIO pin : ARDUINO_SCK_D13_Pin */
	GPIO_InitStruct.Pin = ARDUINO_SCK_D13_Pin;
	GPIO_InitStruct.Mode = GPIO_MODE_AF_PP;
	GPIO_InitStruct.Pull = GPIO_NOPULL;
	GPIO_InitStruct.Speed = GPIO_SPEED_FREQ_LOW;
	GPIO_InitStruct.Alternate = GPIO_AF5_SPI2;
	HAL_GPIO_Init(ARDUINO_SCK_D13_GPIO_Port, &GPIO_InitStruct);

	/*Configure GPIO pin : DCMI_PWR_EN_Pin */
	GPIO_InitStruct.Pin = DCMI_PWR_EN_Pin;
	GPIO_InitStruct.Mode = GPIO_MODE_OUTPUT_PP;
	GPIO_InitStruct.Pull = GPIO_NOPULL;
	GPIO_InitStruct.Speed = GPIO_SPEED_FREQ_LOW;
	HAL_GPIO_Init(DCMI_PWR_EN_GPIO_Port, &GPIO_InitStruct);

	/*Configure GPIO pins : DCMI_D4_Pin DCMI_D3_Pin DCMI_D0_Pin DCMI_D2_Pin
                           DCMI_D1_Pin */
	GPIO_InitStruct.Pin = DCMI_D4_Pin|DCMI_D3_Pin|DCMI_D0_Pin|DCMI_D2_Pin
			|DCMI_D1_Pin;
	GPIO_InitStruct.Mode = GPIO_MODE_AF_PP;
	GPIO_InitStruct.Pull = GPIO_NOPULL;
	GPIO_InitStruct.Speed = GPIO_SPEED_FREQ_LOW;
	GPIO_InitStruct.Alternate = GPIO_AF13_DCMI;
	HAL_GPIO_Init(GPIOH, &GPIO_InitStruct);

	/*Configure GPIO pin : ARDUINO_PWM_CS_D5_Pin */
	GPIO_InitStruct.Pin = ARDUINO_PWM_CS_D5_Pin;
	GPIO_InitStruct.Mode = GPIO_MODE_AF_PP;
	GPIO_InitStruct.Pull = GPIO_NOPULL;
	GPIO_InitStruct.Speed = GPIO_SPEED_FREQ_LOW;
	GPIO_InitStruct.Alternate = GPIO_AF2_TIM5;
	HAL_GPIO_Init(ARDUINO_PWM_CS_D5_GPIO_Port, &GPIO_InitStruct);

	/*Configure GPIO pin : ARDUINO_PWM_D10_Pin */
	GPIO_InitStruct.Pin = ARDUINO_PWM_D10_Pin;
	GPIO_InitStruct.Mode = GPIO_MODE_AF_PP;
	GPIO_InitStruct.Pull = GPIO_NOPULL;
	GPIO_InitStruct.Speed = GPIO_SPEED_FREQ_LOW;
	GPIO_InitStruct.Alternate = GPIO_AF1_TIM1;
	HAL_GPIO_Init(ARDUINO_PWM_D10_GPIO_Port, &GPIO_InitStruct);

	/*Configure GPIO pin : LCD_INT_Pin */
	GPIO_InitStruct.Pin = LCD_INT_Pin;
	GPIO_InitStruct.Mode = GPIO_MODE_EVT_RISING;
	GPIO_InitStruct.Pull = GPIO_NOPULL;
	HAL_GPIO_Init(LCD_INT_GPIO_Port, &GPIO_InitStruct);

	/*Configure GPIO pins : ARDUINO_RX_D0_Pin ARDUINO_TX_D1_Pin */
	GPIO_InitStruct.Pin = ARDUINO_RX_D0_Pin|ARDUINO_TX_D1_Pin;
	GPIO_InitStruct.Mode = GPIO_MODE_AF_PP;
	GPIO_InitStruct.Pull = GPIO_NOPULL;
	GPIO_InitStruct.Speed = GPIO_SPEED_FREQ_VERY_HIGH;
	GPIO_InitStruct.Alternate = GPIO_AF8_USART6;
	HAL_GPIO_Init(GPIOC, &GPIO_InitStruct);

	/*Configure GPIO pin : ULPI_NXT_Pin */
	GPIO_InitStruct.Pin = ULPI_NXT_Pin;
	GPIO_InitStruct.Mode = GPIO_MODE_AF_PP;
	GPIO_InitStruct.Pull = GPIO_NOPULL;
	GPIO_InitStruct.Speed = GPIO_SPEED_FREQ_VERY_HIGH;
	GPIO_InitStruct.Alternate = GPIO_AF10_OTG_HS;
	HAL_GPIO_Init(ULPI_NXT_GPIO_Port, &GPIO_InitStruct);

	/*Configure GPIO pins : FMC_SDNME_Pin FMC_SDNE0_Pin */
	GPIO_InitStruct.Pin = FMC_SDNME_Pin|FMC_SDNE0_Pin;
	GPIO_InitStruct.Mode = GPIO_MODE_AF_PP;
	GPIO_InitStruct.Pull = GPIO_NOPULL;
	GPIO_InitStruct.Speed = GPIO_SPEED_FREQ_VERY_HIGH;
	GPIO_InitStruct.Alternate = GPIO_AF12_FMC;
	HAL_GPIO_Init(GPIOH, &GPIO_InitStruct);

	/*Configure GPIO pins : ARDUINO_D4_Pin ARDUINO_D2_Pin EXT_RST_Pin */
	GPIO_InitStruct.Pin = ARDUINO_D4_Pin|ARDUINO_D2_Pin|EXT_RST_Pin;
	GPIO_InitStruct.Mode = GPIO_MODE_OUTPUT_PP;
	GPIO_InitStruct.Pull = GPIO_NOPULL;
	GPIO_InitStruct.Speed = GPIO_SPEED_FREQ_LOW;
	HAL_GPIO_Init(GPIOG, &GPIO_InitStruct);

	/*Configure GPIO pins : ARDUINO_A4_Pin ARDUINO_A5_Pin ARDUINO_A1_Pin ARDUINO_A2_Pin
                           ARDUINO_A3_Pin */
	GPIO_InitStruct.Pin = ARDUINO_A4_Pin|ARDUINO_A5_Pin|ARDUINO_A1_Pin|ARDUINO_A2_Pin
			|ARDUINO_A3_Pin;
	GPIO_InitStruct.Mode = GPIO_MODE_ANALOG;
	GPIO_InitStruct.Pull = GPIO_NOPULL;
	HAL_GPIO_Init(GPIOF, &GPIO_InitStruct);

	/*Configure GPIO pin : FMC_SDCKE0_Pin */
	GPIO_InitStruct.Pin = FMC_SDCKE0_Pin;
	GPIO_InitStruct.Mode = GPIO_MODE_AF_PP;
	GPIO_InitStruct.Pull = GPIO_NOPULL;
	GPIO_InitStruct.Speed = GPIO_SPEED_FREQ_VERY_HIGH;
	GPIO_InitStruct.Alternate = GPIO_AF12_FMC;
	HAL_GPIO_Init(FMC_SDCKE0_GPIO_Port, &GPIO_InitStruct);

	/*Configure GPIO pins : ULPI_STP_Pin ULPI_DIR_Pin */
	GPIO_InitStruct.Pin = ULPI_STP_Pin|ULPI_DIR_Pin;
	GPIO_InitStruct.Mode = GPIO_MODE_AF_PP;
	GPIO_InitStruct.Pull = GPIO_NOPULL;
	GPIO_InitStruct.Speed = GPIO_SPEED_FREQ_VERY_HIGH;
	GPIO_InitStruct.Alternate = GPIO_AF10_OTG_HS;
	HAL_GPIO_Init(GPIOC, &GPIO_InitStruct);

	/*Configure GPIO pins : RMII_MDC_Pin RMII_RXD0_Pin RMII_RXD1_Pin */
	GPIO_InitStruct.Pin = RMII_MDC_Pin|RMII_RXD0_Pin|RMII_RXD1_Pin;
	GPIO_InitStruct.Mode = GPIO_MODE_AF_PP;
	GPIO_InitStruct.Pull = GPIO_NOPULL;
	GPIO_InitStruct.Speed = GPIO_SPEED_FREQ_VERY_HIGH;
	GPIO_InitStruct.Alternate = GPIO_AF11_ETH;
	HAL_GPIO_Init(GPIOC, &GPIO_InitStruct);

	/*Configure GPIO pin : PB2 */
	GPIO_InitStruct.Pin = GPIO_PIN_2;
	GPIO_InitStruct.Mode = GPIO_MODE_AF_PP;
	GPIO_InitStruct.Pull = GPIO_NOPULL;
	GPIO_InitStruct.Speed = GPIO_SPEED_FREQ_VERY_HIGH;
	GPIO_InitStruct.Alternate = GPIO_AF9_QUADSPI;
	HAL_GPIO_Init(GPIOB, &GPIO_InitStruct);

	/*Configure GPIO pins : QSPI_D1_Pin QSPI_D3_Pin QSPI_D0_Pin */
	GPIO_InitStruct.Pin = QSPI_D1_Pin|QSPI_D3_Pin|QSPI_D0_Pin;
	GPIO_InitStruct.Mode = GPIO_MODE_AF_PP;
	GPIO_InitStruct.Pull = GPIO_NOPULL;
	GPIO_InitStruct.Speed = GPIO_SPEED_FREQ_VERY_HIGH;
	GPIO_InitStruct.Alternate = GPIO_AF9_QUADSPI;
	HAL_GPIO_Init(GPIOD, &GPIO_InitStruct);

	/*Configure GPIO pin : RMII_RXER_Pin */
	GPIO_InitStruct.Pin = RMII_RXER_Pin;
	GPIO_InitStruct.Mode = GPIO_MODE_INPUT;
	GPIO_InitStruct.Pull = GPIO_NOPULL;
	HAL_GPIO_Init(RMII_RXER_GPIO_Port, &GPIO_InitStruct);

	/*Configure GPIO pins : RMII_REF_CLK_Pin RMII_MDIO_Pin RMII_CRS_DV_Pin */
	GPIO_InitStruct.Pin = RMII_REF_CLK_Pin|RMII_MDIO_Pin|RMII_CRS_DV_Pin;
	GPIO_InitStruct.Mode = GPIO_MODE_AF_PP;
	GPIO_InitStruct.Pull = GPIO_NOPULL;
	GPIO_InitStruct.Speed = GPIO_SPEED_FREQ_VERY_HIGH;
	GPIO_InitStruct.Alternate = GPIO_AF11_ETH;
	HAL_GPIO_Init(GPIOA, &GPIO_InitStruct);

	/*Configure GPIO pin : ARDUINO_A0_Pin */
	GPIO_InitStruct.Pin = ARDUINO_A0_Pin;
	GPIO_InitStruct.Mode = GPIO_MODE_ANALOG;
	GPIO_InitStruct.Pull = GPIO_NOPULL;
	HAL_GPIO_Init(ARDUINO_A0_GPIO_Port, &GPIO_InitStruct);

	/*Configure GPIO pins : DCMI_HSYNC_Pin PA6 */
	GPIO_InitStruct.Pin = DCMI_HSYNC_Pin|GPIO_PIN_6;
	GPIO_InitStruct.Mode = GPIO_MODE_AF_PP;
	GPIO_InitStruct.Pull = GPIO_NOPULL;
	GPIO_InitStruct.Speed = GPIO_SPEED_FREQ_LOW;
	GPIO_InitStruct.Alternate = GPIO_AF13_DCMI;
	HAL_GPIO_Init(GPIOA, &GPIO_InitStruct);

	/*Configure GPIO pins : ULPI_CLK_Pin ULPI_D0_Pin */
	GPIO_InitStruct.Pin = ULPI_CLK_Pin|ULPI_D0_Pin;
	GPIO_InitStruct.Mode = GPIO_MODE_AF_PP;
	GPIO_InitStruct.Pull = GPIO_NOPULL;
	GPIO_InitStruct.Speed = GPIO_SPEED_FREQ_VERY_HIGH;
	GPIO_InitStruct.Alternate = GPIO_AF10_OTG_HS;
	HAL_GPIO_Init(GPIOA, &GPIO_InitStruct);

	/*Configure GPIO pin : ARDUINO_PWM_D6_Pin */
	GPIO_InitStruct.Pin = ARDUINO_PWM_D6_Pin;
	GPIO_InitStruct.Mode = GPIO_MODE_AF_PP;
	GPIO_InitStruct.Pull = GPIO_NOPULL;
	GPIO_InitStruct.Speed = GPIO_SPEED_FREQ_LOW;
	GPIO_InitStruct.Alternate = GPIO_AF9_TIM12;
	HAL_GPIO_Init(ARDUINO_PWM_D6_GPIO_Port, &GPIO_InitStruct);

	/*Configure GPIO pins : ARDUINO_MISO_D12_Pin ARDUINO_MOSI_PWM_D11_Pin */
	GPIO_InitStruct.Pin = ARDUINO_MISO_D12_Pin|ARDUINO_MOSI_PWM_D11_Pin;
	GPIO_InitStruct.Mode = GPIO_MODE_AF_PP;
	GPIO_InitStruct.Pull = GPIO_NOPULL;
	GPIO_InitStruct.Speed = GPIO_SPEED_FREQ_LOW;
	GPIO_InitStruct.Alternate = GPIO_AF5_SPI2;
	HAL_GPIO_Init(GPIOB, &GPIO_InitStruct);

}

void Error_Handler(void)
{
	__disable_irq();
	while (1)
	{
	}
}
